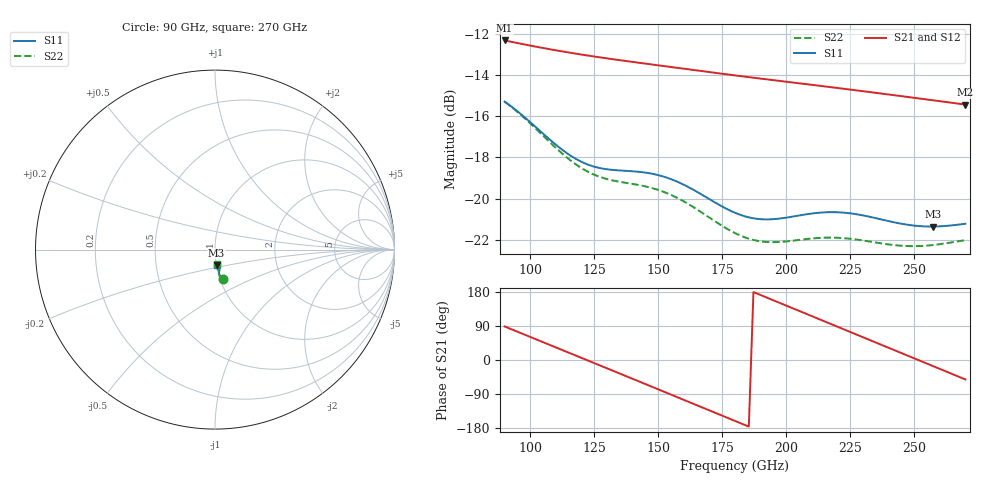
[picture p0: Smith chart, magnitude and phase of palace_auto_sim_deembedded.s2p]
! Created with skrf 1.11.0 (http://scikit-rf.org).
# GHz S DB R 50.0
!freq dBS11 angS11 dBS21 angS21 dBS12 angS12 dBS22 angS22
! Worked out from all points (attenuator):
!   101 points, 90 GHz to 270 GHz, reference 50 ohm
!   highest |S21| = -12.34 dB at 90 GHz (marker M1); lowest = -15.4 dB at 270 GHz (marker M2)
!   lowest |S11| = -21.4 dB at 257.4 GHz (marker M3), VSWR 1.19, Z = 50.1 - j8.59 ohm
!   |S11| at or under -10 dB: start of sweep to end of sweep
!   |S22| runs from -22.3 to -15.3 dB; largest |S21 - S12| = 4e-14
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90  -15.30 -74.8  -12.34 88.5  -12.34 88.5  -15.31 -75.0
97.2  -16.00 -77.9  -12.52 68.6  -12.52 68.6  -16.04 -78.3
106.2  -16.98 -80.0  -12.73 43.8  -12.73 43.8  -17.09 -81.0
113.4  -17.72 -80.0  -12.89 23.9  -12.89 23.9  -17.92 -81.3
120.6  -18.25 -78.9  -13.03 4.0  -13.03 4.0  -18.57 -80.4
127.8  -18.54 -77.7  -13.17 -15.9  -13.17 -15.9  -18.97 -79.2
135  -18.64 -77.5  -13.29 -35.8  -13.29 -35.8  -19.19 -78.8
144  -18.73 -78.8  -13.44 -60.7  -13.44 -60.7  -19.39 -79.8
151.2  -18.90 -80.9  -13.56 -80.7  -13.56 -80.7  -19.63 -81.5
163.8  -19.58 -84.3  -13.77 -115.8  -13.77 -115.8  -20.42 -84.5
172.8  -20.23 -84.9  -13.91 -140.8  -13.91 -140.8  -21.15 -84.8
180  -20.69 -84.0  -14.03 -160.8  -14.03 -160.8  -21.67 -83.6
187.2  -20.96 -82.2  -14.14 179.2  -14.14 179.2  -22.01 -81.5
194.4  -21.00 -80.5  -14.25 159.2  -14.25 159.2  -22.11 -79.5
203.4  -20.86 -79.6  -14.39 134.2  -14.39 134.2  -22.03 -78.1
210.6  -20.72 -80.2  -14.50 114.1  -14.50 114.1  -21.93 -78.2
217.8  -20.66 -81.5  -14.61 94.1  -14.61 94.1  -21.89 -79.1
225  -20.72 -83.1  -14.72 74.0  -14.72 74.0  -21.95 -80.1
241.2  -21.13 -85.1  -14.98 28.9  -14.98 28.9  -22.24 -81.2
248.4  -21.29 -85.0  -15.09 8.8  -15.09 8.8  -22.31 -81.1
257.4  -21.36 -84.4  -15.24 -16.2  -15.24 -16.2  -22.25 -80.9
270  -21.22 -84.1  -15.45 -51.3  -15.45 -51.3  -22.01 -82.0
